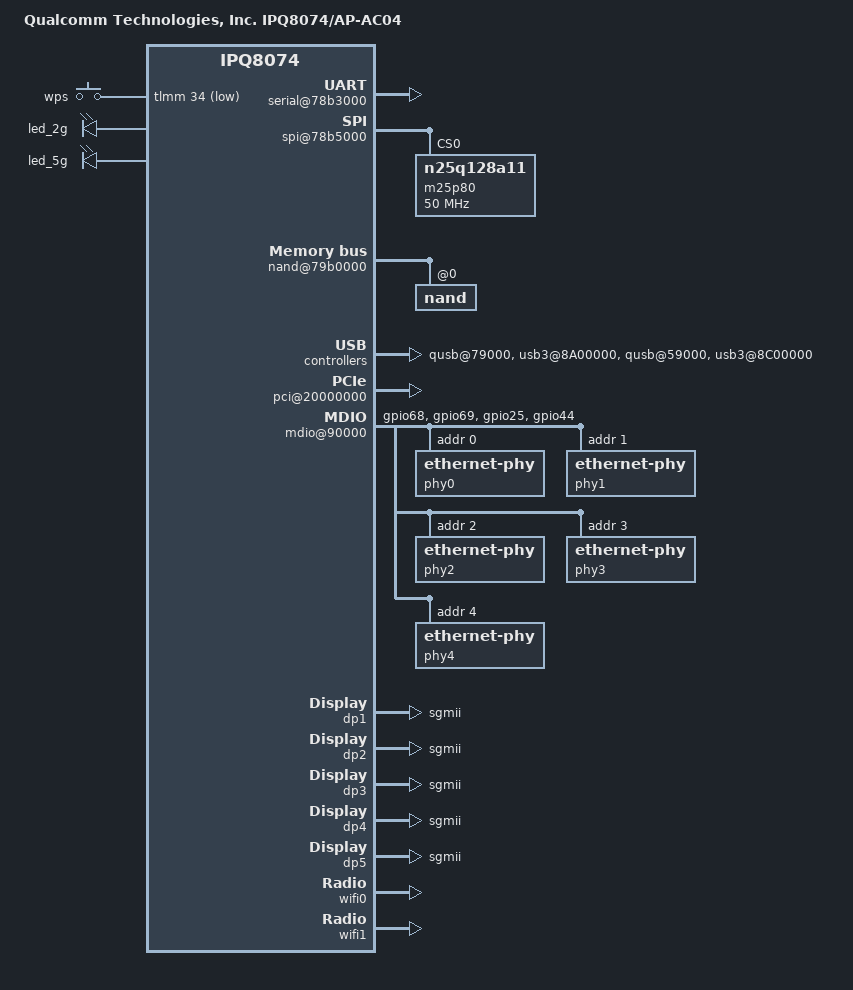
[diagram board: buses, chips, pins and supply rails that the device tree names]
// SPDX-License-Identifier: GPL-2.0-only
/dts-v1/;
/* Copyright (c) 2020 The Linux Foundation. All rights reserved.
 */
#include "ipq8074.dtsi"
#include "ipq8074-ac-cpu.dtsi"

/ {
	#address-cells = <0x2>;
	#size-cells = <0x2>;
	model = "Qualcomm Technologies, Inc. IPQ8074/AP-AC04";
	compatible = "qcom,ipq8074-ap-ac04", "qcom,ipq8074";
	qcom,msm-id = <0x18C 0x0>;
	interrupt-parent = <&intc>;

	aliases {
		serial0 = &blsp1_uart5;
		/* Aliases as required by u-boot to patch MAC addresses */
		ethernet0 = "/soc/dp1";
		ethernet1 = "/soc/dp2";
		ethernet2 = "/soc/dp3";
		ethernet3 = "/soc/dp4";
		ethernet4 = "/soc/dp5";
	};

	chosen {
		stdout-path = "serial0";
	};

	soc {
		pinctrl@1000000 {
			button_pins: button_pins {
				wps_button {
					pins = "gpio34";
					function = "gpio";
					drive-strength = <8>;
					bias-pull-up;
				};
			};

			usb_mux_sel_pins: usb_mux_pins {
				mux {
					pins = "gpio27";
					function = "gpio";
					drive-strength = <8>;
					bias-pull-down;
				};
			};

			pcie0_pins: pcie_pins {
				pcie0_rst {
					pins = "gpio58";
					function = "pcie0_rst";
					drive-strength = <8>;
					bias-pull-down;
				};
				pcie0_wake {
					pins = "gpio59";
					function = "pcie0_wake";
					drive-strength = <8>;
					bias-pull-down;
				};
			};

			mdio_pins: mdio_pinmux {
				mux_0 {
					pins = "gpio68";
					function = "mdc";
					drive-strength = <8>;
					bias-pull-up;
				};
				mux_1 {
					pins = "gpio69";
					function = "mdio";
					drive-strength = <8>;
					bias-pull-up;
				};
				mux_2 {
					pins = "gpio25";
					function = "gpio";
					bias-pull-up;
				};
				mux_3 {
					pins = "gpio44";
					function = "gpio";
					bias-pull-up;
				};
			};
			led_pins: led_pins {
				led_2g {
					pins = "gpio42";
					function = "gpio";
					drive-strength = <8>;
					bias-pull-down;
				};

				led_5g {
					pins = "gpio43";
					function = "gpio";
					drive-strength = <8>;
					bias-pull-down;
				};
			};
		};

		serial@78b3000 {
			status = "ok";
		};

		spi@78b5000 {
			status = "ok";
			pinctrl-0 = <&spi_0_pins>;
			pinctrl-names = "default";
			cs-select = <0>;

			m25p80@0 {
				  compatible = "n25q128a11";
				  #address-cells = <1>;
				  #size-cells = <1>;
				  reg = <0>;
				  spi-max-frequency = <50000000>;
			};
		};

		dma@7984000 {
			 status = "ok";
		};

		nand@79b0000 {
			status = "ok";

			nand@0 {
				reg = <0>;
				#address-cells = <1>;
				#size-cells = <1>;

				nand-ecc-strength = <4>;
				nand-ecc-step-size = <512>;
				nand-bus-width = <8>;
			};
		};

		qusb@79000 {
			status = "ok";
		};

		ssphy@78000 {
			status = "ok";
		};

		usb3@8A00000 {
			status = "ok";
		};

		qusb@59000 {
			status = "ok";
		};

		ssphy@58000 {
			status = "ok";
		};

		usb3@8C00000 {
			status = "ok";
		};

		phy@84000 {
			status = "ok";
		};

		phy@86000 {
			status = "ok";
		};

		pci@20000000 {
			perst-gpio = <&tlmm 58 1>;
			status = "ok";
		};

		gpio_keys {
			compatible = "gpio-keys";
			pinctrl-0 = <&button_pins>;
			pinctrl-names = "default";
			status = "ok";

			button@1 {
				label = "wps";
				linux,code = <KEY_WPS_BUTTON>;
				gpios = <&tlmm 34 GPIO_ACTIVE_LOW>;
				linux,input-type = <1>;
				debounce-interval = <60>;
			};
		};

		mdio@90000 {
			pinctrl-0 = <&mdio_pins>;
			pinctrl-names = "default";
			phy-reset-gpio = <&tlmm 37 0>;
			phy0: ethernet-phy@0 {
				reg = <0>;
			};
			phy1: ethernet-phy@1 {
				reg = <1>;
			};
			phy2: ethernet-phy@2 {
				reg = <2>;
			};
			phy3: ethernet-phy@3 {
				reg = <3>;
			};
			phy4: ethernet-phy@4 {
				reg = <4>;
			};
		};

		ess-switch@3a000000 {
			switch_cpu_bmp = <0x1>;  /* cpu port bitmap */
			switch_lan_bmp = <0x1e>; /* lan port bitmap */
			switch_wan_bmp = <0x20>; /* wan port bitmap */
			switch_mac_mode = <0x0>; /* mac mode for uniphy instance0*/
			switch_mac_mode1 = <0xff>; /* mac mode for uniphy instance1*/
			switch_mac_mode2 = <0xff>; /* mac mode for uniphy instance2*/
			bm_tick_mode = <0>; /* bm tick mode */
			tm_tick_mode = <0>; /* tm tick mode */
			qcom,port_phyinfo {
				port@0 {
					port_id = <1>;
					phy_address = <0>;
				};
				port@1 {
					port_id = <2>;
					phy_address = <1>;
				};
				port@2 {
					port_id = <3>;
					phy_address = <2>;
				};
				port@3 {
					port_id = <4>;
					phy_address = <3>;
				};
				port@4 {
					port_id = <5>;
					phy_address = <4>;
				};
			};
		};

		dp1 {
			device_type = "network";
			compatible = "qcom,nss-dp";
			qcom,id = <1>;
			reg = <0x3a001000 0x200>;
			qcom,mactype = <0>;
			local-mac-address = [000000000000];
			qcom,link-poll = <1>;
			qcom,phy-mdio-addr = <0>;
			phy-mode = "sgmii";
		};

		dp2 {
			device_type = "network";
			compatible = "qcom,nss-dp";
			qcom,id = <2>;
			reg = <0x3a001200 0x200>;
			qcom,mactype = <0>;
			local-mac-address = [000000000000];
			qcom,link-poll = <1>;
			qcom,phy-mdio-addr = <1>;
			phy-mode = "sgmii";
		};

		dp3 {
			device_type = "network";
			compatible = "qcom,nss-dp";
			qcom,id = <3>;
			reg = <0x3a001400 0x200>;
			qcom,mactype = <0>;
			local-mac-address = [000000000000];
			qcom,link-poll = <1>;
			qcom,phy-mdio-addr = <2>;
			phy-mode = "sgmii";
		};

		dp4 {
			device_type = "network";
			compatible = "qcom,nss-dp";
			qcom,id = <4>;
			reg = <0x3a001600 0x200>;
			qcom,mactype = <0>;
			local-mac-address = [000000000000];
			qcom,link-poll = <1>;
			qcom,phy-mdio-addr = <3>;
			phy-mode = "sgmii";
		};

		dp5 {
			device_type = "network";
			compatible = "qcom,nss-dp";
			qcom,id = <5>;
			reg = <0x3a001800 0x200>;
			qcom,mactype = <0>;
			local-mac-address = [000000000000];
			qcom,link-poll = <1>;
			qcom,phy-mdio-addr = <4>;
			phy-mode = "sgmii";
		};

		leds {
			compatible = "gpio-leds";
			pinctrl-0 = <&led_pins>;
			pinctrl-names = "default";

			led_2g {
				label = "led_2g";
				gpio = <&tlmm 42 GPIO_ACTIVE_HIGH>;
				default-state = "off";
			};

			led_5g {
				label = "led_5g";
				gpio = <&tlmm 43 GPIO_ACTIVE_HIGH>;
				default-state = "off";
			};
		};

	};
};

&apc_cpr {
	/* Same CPR configuration as OAK */
	compatible = "qcom,cpr4-ipq817x-apss-regulator";

	thread@0 {
		apc_vreg: regulator {
			regulator-min-microvolt = <1>;
			regulator-max-microvolt = <2>;
			qcom,cpr-fuse-corners = <2>;
			qcom,cpr-corners = <3>;
			qcom,cpr-speed-bin-corners = <3>;
			qcom,cpr-corner-fmax-map = <1 3>;

			qcom,cpr-voltage-ceiling =
				<840000 904000 944000>;
			qcom,cpr-voltage-floor =
				<592000 648000 712000>;
			qcom,corner-frequencies =
				<1017600000 1382400000 1382400000>;

			qcom,cpr-open-loop-voltage-fuse-adjustment-0 =
				/* Speed bin 0; CPR rev 0..7 */
				< 0      0>,
				< 0      0>,
				< 0      0>,
				< 0      0>,
				< 0      0>,
				< 0      0>,
				< 0      0>,
				< 0      0>;

			qcom,cpr-open-loop-voltage-fuse-adjustment-1 =
				/* Speed bin 0; CPR rev 0..7 */
				<     0      0>,
				<     0      0>,
				<     0      0>,
				< 20000  26000>,
				<     0      0>,
				<     0      0>,
				<     0      0>,
				<     0      0>;

			qcom,cpr-open-loop-voltage-fuse-adjustment-v2-0 =
				/* Speed bin 0; CPR rev 0..7 */
				<     0      0>,
				<     0      0>,
				<     0      0>,
				<     0      0>,
				<     0      0>,
				<     0      0>,
				<     0      0>,
				<     0      0>;

			qcom,cpr-open-loop-voltage-fuse-adjustment-v2-1 =
				/* Speed bin 0; CPR rev 0..7 */
				<     0      0>,
				<     0   7000>,
				<     0      0>,
				<     0      0>,
				<     0      0>,
				<     0      0>,
				<     0      0>,
				<     0      0>;

			qcom,cpr-floor-to-ceiling-max-range =
				< 40000 40000 40000>,
				< 40000 40000 40000>,
				< 40000 40000 40000>,
				< 40000 40000 40000>,
				< 40000 40000 40000>,
				< 40000 40000 40000>,
				< 40000 40000 40000>,
				< 40000 40000 40000>;
		};
	};
};

&npu_cpr {
	status = "disabled";
};

&nss0 {
        qcom,low-frequency = <187200000>;
        qcom,mid-frequency = <748800000>;
        qcom,max-frequency = <1497600000>;
};

&nss0 {
	npu-supply = <&dummy_reg>;
	mx-supply = <&dummy_reg>;
};

&wifi0 {
	qcom,board_id = <0x92>;
};

&wifi1 {
	qcom,board_id = <0x292>;
};
